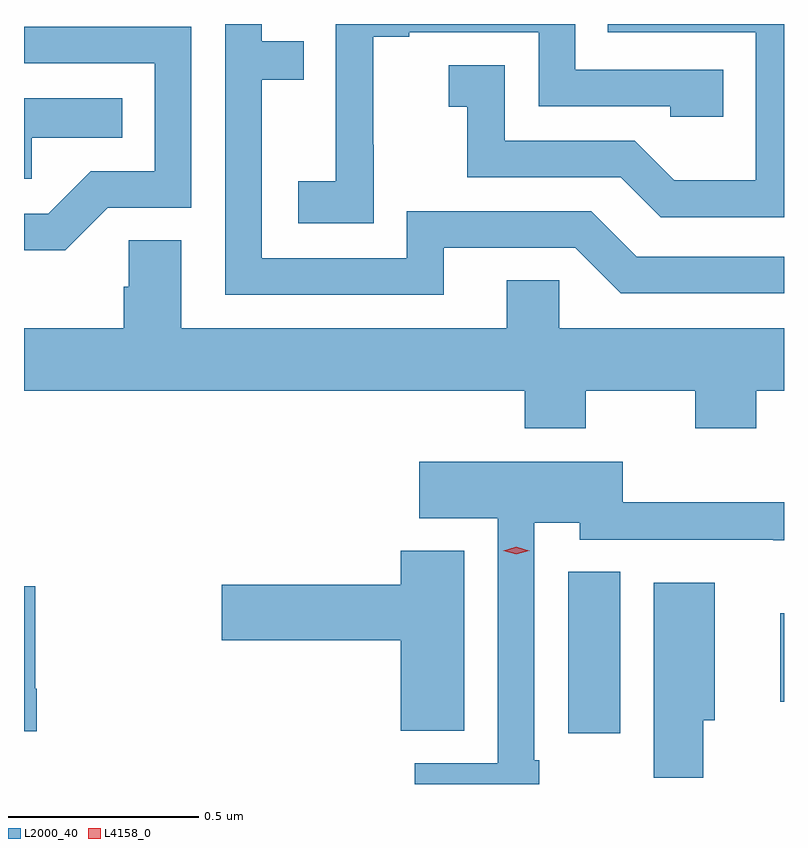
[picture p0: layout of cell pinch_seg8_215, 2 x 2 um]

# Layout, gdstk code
import gdstk
lib = gdstk.Library(unit=1e-6, precision=1e-09)
def R(c, l, rs):  # rectangles x0, y0, x1, y1
    for r in rs: c.add(gdstk.rectangle(r[:2], r[2:], *l))
def P(c, l, *ps):  # polygons
    for p in ps: c.add(gdstk.Polygon(p, *l))
L2000_40 = (2000, 40)
L4158_0 = (4158, 0)

pinch_seg8_215 = lib.new_cell('pinch_seg8_215')
R(pinch_seg8_215, L2000_40, [(731.459,1098.282,731.596,1098.707), (732.017,1098.365,732.027,1098.598)])
P(pinch_seg8_215, L2000_40, [(730.947,1099.831),(730.946,1099.831),(730.946,1100.115),(731.041,1100.115),(731.041,1100.127),(731.382,1100.127),(731.382,1099.932),(731.727,1099.932),(731.727,1099.905),(731.867,1099.905),(731.867,1100.028),(731.478,1100.028),(731.478,1100.149),(730.848,1100.149),(730.848,1099.964),(730.847,1099.964),(730.847,1099.735),(730.749,1099.735),(730.749,1099.625),(730.947,1099.625)],
  [(731.131,1099.56),(731.478,1099.56),(731.598,1099.44),(732.027,1099.44),(732.027,1099.536),(731.64,1099.536),(731.52,1099.656),(731.034,1099.656),(731.034,1099.533),(730.653,1099.533),(730.653,1100.002),(730.763,1100.002),(730.763,1100.103),(730.653,1100.103),(730.653,1100.149),(730.557,1100.149),(730.557,1099.437),(731.131,1099.437)],
  [(732.027,1100.149),(731.563,1100.149),(731.563,1100.127),(731.952,1100.127),(731.952,1099.738),(731.738,1099.738),(731.634,1099.842),(731.292,1099.842),(731.292,1100.041),(731.145,1100.041),(731.145,1099.931),(731.194,1099.931),(731.194,1099.746),(731.597,1099.746),(731.702,1099.641),(732.027,1099.641)],
  [(730.248,1099.665),(730.467,1099.665),(730.467,1100.142),(730.027,1100.142),(730.027,1100.046),(730.371,1100.046),(730.371,1099.761),(730.202,1099.761),(730.091,1099.65),(730.027,1099.65),(730.027,1099.553),(730.135,1099.553)],
  [(730.047,1099.85),(730.286,1099.85),(730.286,1099.954),(730.027,1099.954),(730.027,1099.742),(730.047,1099.742)],
  [(731.505,1099.184),(731.794,1099.184),(731.794,1099.085),(731.954,1099.085),(731.954,1099.184),(732.027,1099.184),(732.027,1099.348),(731.436,1099.348),(731.436,1099.475),(731.297,1099.475),(731.297,1099.348),(730.441,1099.348),(730.441,1099.58),(730.302,1099.58),(730.302,1099.457),(730.289,1099.457),(730.289,1099.348),(730.027,1099.348),(730.027,1099.184),(731.345,1099.184),(731.345,1099.085),(731.505,1099.085)],
  [(731.383,1098.211),(731.37,1098.211),(731.37,1098.836),(731.489,1098.836),(731.489,1098.792),(731.999,1098.792),(731.999,1098.791),(732.027,1098.791),(732.027,1098.89),(731.602,1098.89),(731.602,1098.997),(731.067,1098.997),(731.067,1098.848),(731.274,1098.848),(731.274,1098.204),(731.055,1098.204),(731.055,1098.149),(731.383,1098.149)],
  [(731.185,1098.763),(731.018,1098.763),(731.018,1098.674),(730.548,1098.674),(730.548,1098.527),(731.018,1098.527),(731.018,1098.289),(731.185,1098.289)],
  [(731.814,1098.317),(731.845,1098.317),(731.845,1098.679),(731.684,1098.679),(731.684,1098.165),(731.814,1098.165)],
  [(730.061,1098.4),(730.056,1098.4),(730.056,1098.669),(730.027,1098.669),(730.027,1098.288),(730.061,1098.288)])
P(pinch_seg8_215, L4158_0, [(731.323,1098.753),(731.288,1098.763),(731.288,1098.763),(731.288,1098.763),(731.323,1098.773),(731.357,1098.763),(731.358,1098.763),(731.357,1098.763)])

lib.write_gds('pinch_seg8_215.gds')
